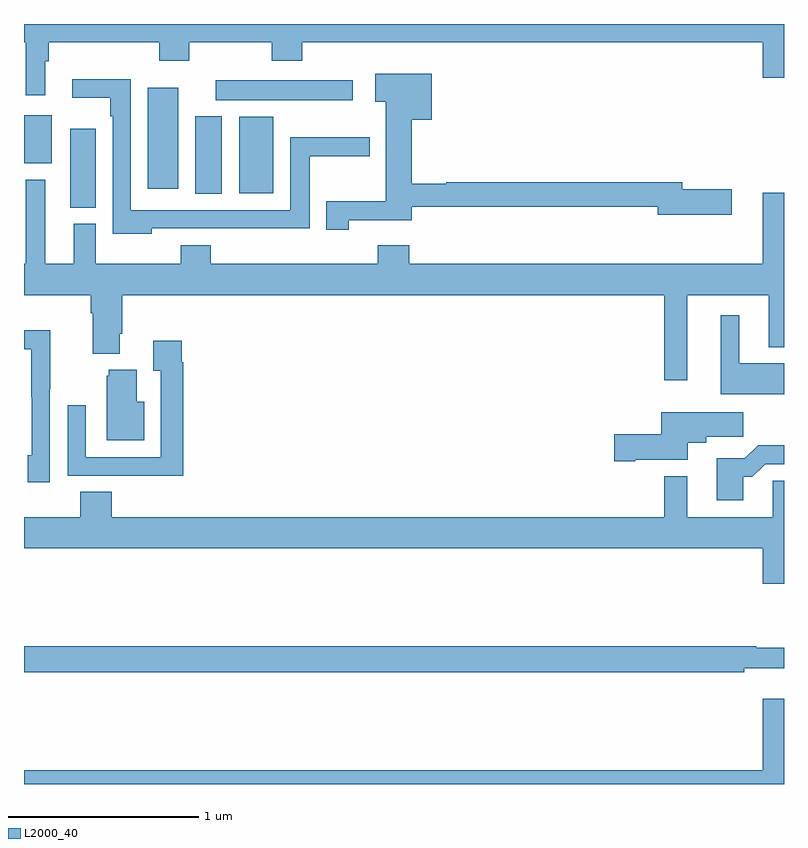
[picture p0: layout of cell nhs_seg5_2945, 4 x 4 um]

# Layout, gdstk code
import gdstk
lib = gdstk.Library(unit=1e-6, precision=1e-09)
def R(c, l, rs):  # rectangles x0, y0, x1, y1
    for r in rs: c.add(gdstk.rectangle(r[:2], r[2:], *l))
def P(c, l, *ps):  # polygons
    for p in ps: c.add(gdstk.Polygon(p, *l))
L2000_40 = (2000, 40)

nhs_seg5_2945 = lib.new_cell('nhs_seg5_2945')
R(nhs_seg5_2945, L2000_40, [(281.243,911.833,281.377,912.247), (281.9,911.905,282.04,912.313), (282.134,911.909,282.313,912.31), (281.651,911.931,281.812,912.463), (281,912.065,281.146,912.319), (282.009,912.398,282.73,912.502)])
P(nhs_seg5_2945, L2000_40, [(281.113,912.604),(281.131,912.604),(281.131,912.704),(281.711,912.704),(281.711,912.605),(281.871,912.605),(281.871,912.704),(282.304,912.704),(282.304,912.605),(282.464,912.605),(282.464,912.704),(284.888,912.704),(284.888,912.516),(285,912.516),(285,912.799),(281,912.799),(281,912.704),(281.009,912.704),(281.009,912.423),(281.113,912.423)],
  [(282.708,911.765),(283.04,911.765),(283.04,911.838),(284.336,911.838),(284.336,911.795),(284.725,911.795),(284.725,911.93),(284.464,911.93),(284.464,911.966),(283.223,911.966),(283.223,911.959),(283.04,911.959),(283.04,912.296),(283.147,912.296),(283.147,912.538),(282.849,912.538),(282.849,912.389),(282.905,912.389),(282.905,911.865),(282.59,911.865),(282.59,911.715),(282.708,911.715)],
  [(281.673,911.724),(282.067,911.724),(282.067,911.723),(282.505,911.723),(282.505,912.103),(282.82,912.103),(282.82,912.203),(282.401,912.203),(282.401,911.82),(281.562,911.82),(281.562,912.509),(281.253,912.509),(281.253,912.41),(281.454,912.41),(281.454,912.314),(281.466,912.314),(281.466,911.696),(281.673,911.696)],
  [(284.491,911.372),(284.921,911.372),(284.921,911.099),(285,911.099),(285,911.911),(284.888,911.911),(284.888,911.536),(283.028,911.536),(283.028,911.635),(282.863,911.635),(282.863,911.536),(281.984,911.536),(281.984,911.635),(281.824,911.635),(281.824,911.536),(281.377,911.536),(281.377,911.748),(281.261,911.748),(281.261,911.536),(281.113,911.536),(281.113,911.98),(281.009,911.98),(281.009,911.536),(281,911.536),(281,911.372),(281.351,911.372),(281.351,911.276),(281.363,911.276),(281.363,911.063),(281.503,911.063),(281.503,911.17),(281.516,911.17),(281.516,911.372),(284.37,911.372),(284.37,910.923),(284.491,910.923)],
  [(285,911.014),(284.764,911.014),(284.764,911.266),(284.666,911.266),(284.666,910.85),(285,910.85)],
  [(281.136,910.879),(281.139,910.879),(281.139,911.186),(281,911.186),(281,911.088),(281.039,911.088),(281.039,910.834),(281.04,910.834),(281.04,910.53),(281.021,910.53),(281.021,910.386),(281.136,910.386)],
  [(281.837,911.018),(281.83,911.018),(281.83,911.131),(281.681,911.131),(281.681,910.975),(281.721,910.975),(281.721,910.518),(281.325,910.518),(281.325,910.792),(281.229,910.792),(281.229,910.422),(281.545,910.422),(281.545,910.421),(281.837,910.421)],
  [(281.632,910.81),(281.593,910.81),(281.593,910.978),(281.447,910.978),(281.447,910.947),(281.435,910.947),(281.435,910.607),(281.632,910.607)],
  [(284.218,910.505),(284.494,910.505),(284.494,910.595),(284.59,910.595),(284.59,910.627),(284.785,910.627),(284.785,910.756),(284.354,910.756),(284.354,910.64),(284.106,910.64),(284.106,910.498),(284.218,910.498)],
  [(284.785,910.415),(284.834,910.415),(284.901,910.482),(285,910.482),(285,910.583),(284.864,910.583),(284.794,910.513),(284.645,910.513),(284.645,910.293),(284.785,910.293)],
  [(285,910.394),(284.94,910.394),(284.94,910.204),(284.491,910.204),(284.491,910.42),(284.37,910.42),(284.37,910.204),(281.462,910.204),(281.462,910.337),(281.297,910.337),(281.297,910.204),(281,910.204),(281,910.04),(284.888,910.04),(284.888,909.852),(285,909.852)],
  [(284.792,909.407),(285,909.407),(285,909.517),(284.855,909.517),(284.855,909.524),(281,909.524),(281,909.388),(284.792,909.388)],
  [(285,909.247),(284.888,909.247),(284.888,908.872),(281,908.872),(281,908.799),(285,908.799)])

lib.write_gds('nhs_seg5_2945.gds')
